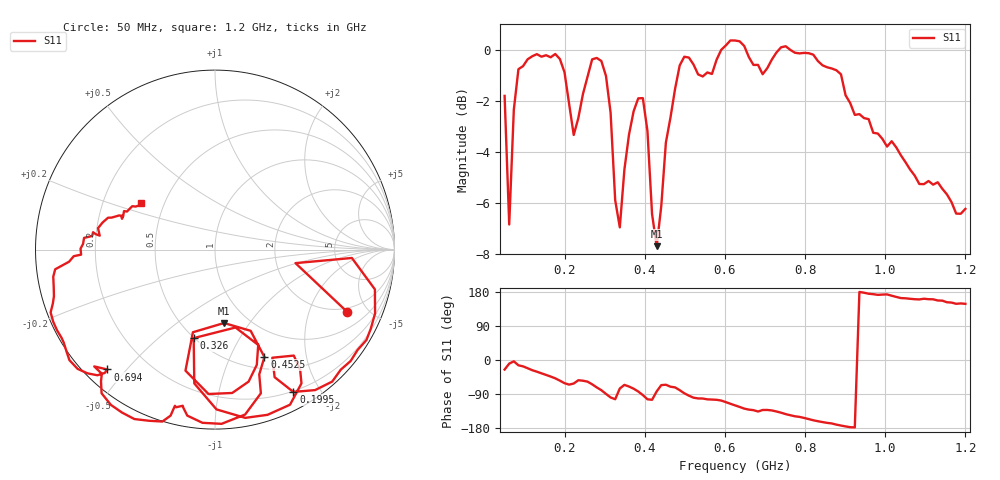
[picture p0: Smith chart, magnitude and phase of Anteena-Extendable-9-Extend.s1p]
# HZ S RI R 50
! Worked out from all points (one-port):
!   101 points, 50 MHz to 1.2 GHz, reference 50 ohm
!   lowest |S11| = -7.7 dB at 429.5 MHz (marker M1), VSWR 2.40, Z = 38.8 - j38.3 ohm
!   |S11| at or under -10 dB: nowhere
!   S11 on the Smith chart (normalised r, x): 50 MHz: 1.78, -3.65; 199.5 MHz: 0.19, -1.68; 326 MHz: 0.50, -0.66; 452.5 MHz: 0.64, -1.36; 694 MHz: 0.06, -0.44; 1.2 GHz: 0.37, +0.25
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5e7  0.7361 -0.3465
6.15e7  0.4484 -0.0754
7.3e7  0.7627 -0.0467
8.45e7  0.891 -0.2217
1.305e8  0.8438 -0.5038
1.995e8  0.4365 -0.793
2.225e8  0.3192 -0.6024
2.34e8  0.439 -0.5905
2.57e8  0.4817 -0.7455
2.915e8  0.1689 -0.9375
3.145e8  -0.1154 -0.7454
3.26e8  -0.1188 -0.4933
3.375e8  0.1143 -0.434
3.605e8  0.2329 -0.6422
3.95e8  -0.0361 -0.8046
4.065e8  -0.1645 -0.6743
4.295e8  0.0505 -0.409
4.525e8  0.2754 -0.5984
4.87e8  0.1681 -0.9187
5.215e8  -0.1544 -0.9249
5.79e8  -0.2477 -0.9253
6.25e8  -0.5182 -0.9078
6.94e8  -0.5993 -0.668
7.745e8  -0.8436 -0.5163
8.78e8  -0.9011 -0.1506
9.125e8  -0.7869 -0.0366
1.062e9  -0.553 0.1848
1.2e9  -0.4146 0.2572
